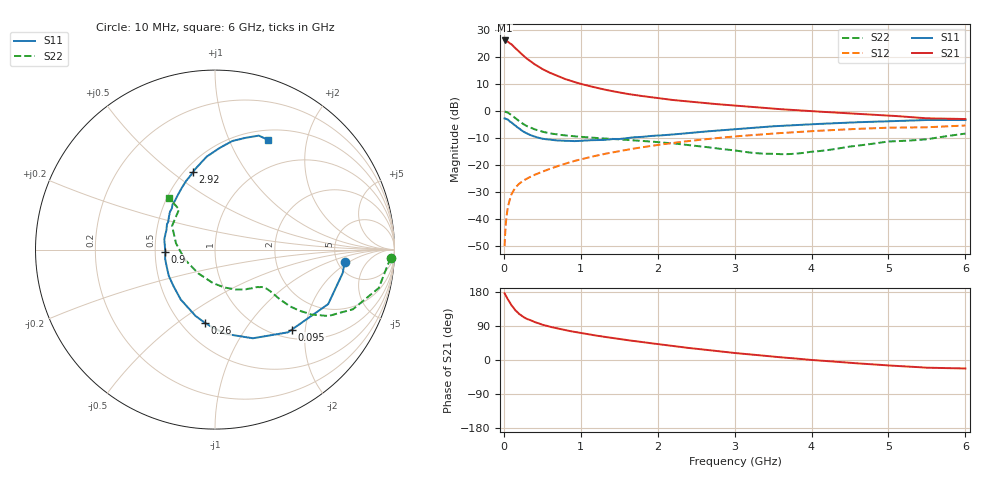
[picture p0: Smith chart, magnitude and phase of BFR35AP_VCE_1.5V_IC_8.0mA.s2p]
! Infineon Technologies  Discrete & RF Semiconductors
! BFR35AP
! VCE =  1.5 V,  IC =  8.0 mA
! Common Emitter S-Parameters:  Nov 2015
# GHz  S  MA  R  50
!  f  S11  S21  S12  S22
! GHz  MAG  ANG  MAG  ANG  MAG  ANG  MAG  ANG
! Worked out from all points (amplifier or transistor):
!   210 points, 10 MHz to 6 GHz, reference 50 ohm
!   highest |S21| = 26.0 dB at 10 MHz (marker M1)
!   |S21| within 3 dB of that: start of sweep to 155.8 MHz
!   unconditionally stable (mu >= 1): 582.6 MHz to 4.346 GHz; 5.132 GHz to end of sweep
!   at 185 MHz: K = 0.51, MSG = 24.7 dB, |S12| = -27.3 dB
!   at 1.52 GHz: K = 1.14, MAG = 8.4 dB, |S12| = -14.7 dB
!   at 6 GHz: K = 1.00, MAG = 0.9 dB, |S12| = -5.4 dB
!   S11 on the Smith chart (normalised r, x): 10 MHz: 5.82, -1.65; 95 MHz: 1.18, -1.70; 260 MHz: 0.65, -0.64; 900 MHz: 0.57, -0.02; 2.92 GHz: 0.55, +0.60; 6 GHz: 0.62, +1.41
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0.01  0.7259 -5.3  19.96 176.0  0.0032 91.1  0.9804 -2.7
0.02  0.7233 -10.4  19.72 171.8  0.0064 85.4  0.9646 -5.4
0.05  0.6999 -25.7  19.03 160.6  0.016 77.7  0.9372 -13.2
0.095  0.6181 -46.1  17.07 145.9  0.0278 69.0  0.846 -22.3
0.1  0.6145 -48.6  16.93 144.1  0.0291 68.5  0.8373 -23.4
0.15  0.5371 -66.9  14.39 131.0  0.0385 62.3  0.733 -30.3
0.2  0.4732 -82.9  12.33 121.4  0.0455 59.4  0.6469 -34.0
0.26  0.4118 -97.9  10.29 112.9  0.0523 57.6  0.5654 -36.2
0.3  0.3849 -106.4  9.194 108.4  0.0564 57.6  0.5248 -37.1
0.4  0.3375 -124.4  7.262 100.2  0.0662 57.8  0.4578 -37.5
0.5  0.3079 -138.8  5.94 93.1  0.0757 58.5  0.4138 -37.2
0.6  0.2961 -150.5  5.051 87.7  0.0856 59.4  0.3855 -37.0
0.7  0.2851 -161.4  4.391 82.9  0.0958 60.3  0.3669 -37.1
0.9  0.2772 -177.3  3.47 74.8  0.1177 60.0  0.3418 -37.9
1.02  0.2823 173.6  3.106 70.7  0.1299 60.0  0.3315 -39.0
1.4  0.3026 152.2  2.328 58.5  0.1706 58.0  0.3053 -44.2
2.02  0.3523 129.2  1.709 41.4  0.2376 52.1  0.2641 -57.2
2.92  0.4498 105.7  1.28 20.4  0.3306 41.1  0.1921 -89.2
3.1  0.471 102.2  1.219 16.7  0.3471 38.6  0.1781 -98.8
4.1  0.5763 85.9  0.971 -1.3  0.4311 25.2  0.1816 -168.1
5.1  0.651 73.7  0.805 -15.5  0.492 11.4  0.2762 146.9
6  0.6791 64.1  0.709 -22.4  0.5388 1.6  0.3819 131.6
